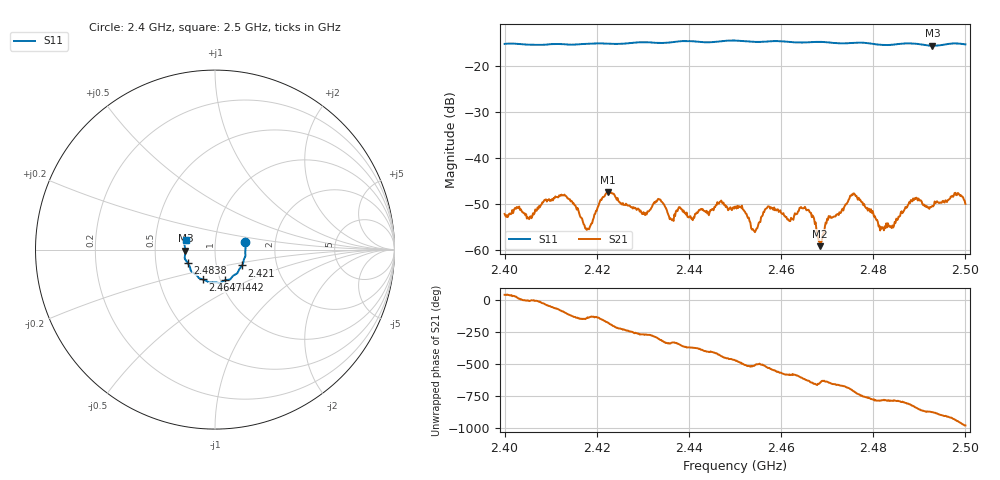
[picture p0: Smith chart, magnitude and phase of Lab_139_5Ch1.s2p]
# Hz S RI R 50
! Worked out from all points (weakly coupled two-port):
!   601 points, 2.4 GHz to 2.5 GHz, reference 50 ohm
!   highest |S21| = -47.47 dB at 2.4225 GHz (marker M1); lowest = -59.2 dB at 2.4685 GHz (marker M2)
!   lowest |S11| = -15.6 dB at 2.4928 GHz (marker M3), VSWR 1.40, Z = 35.8 - j0.39 ohm
!   |S11| at or under -10 dB: start of sweep to end of sweep
!   S12 and S22 are empty: the file has one direction only
!   S11 on the Smith chart (normalised r, x): 2.4 GHz: 1.40, +0.12; 2.421 GHz: 1.33, -0.24; 2.4442 GHz: 1.05, -0.37; 2.4647 GHz: 0.83, -0.29; 2.4838 GHz: 0.73, -0.11; 2.5 GHz: 0.72, +0.08
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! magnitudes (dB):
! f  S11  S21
! 2.4 GHz  -15.2  -52.2
! 2.4125 GHz  -15.3  -48.1
! 2.4167 GHz  -15.3  -53.0
! 2.4183 GHz  -15.2  -55.5
! 2.421 GHz  -15.1  -49.2
! 2.4225 GHz  -15.2  -47.5
! 2.4303 GHz  -14.9  -52.2
! 2.4333 GHz  -15.0  -48.9
! 2.4362 GHz  -14.9  -53.4
! 2.4442 GHz  -14.9  -51.8
! 2.45 GHz  -14.5  -50.6
! 2.4542 GHz  -14.8  -55.9
! 2.457 GHz  -14.7  -50.8
! 2.4647 GHz  -14.9  -51.0
! 2.4667 GHz  -14.8  -52.9
! 2.4685 GHz  -14.8  -59.2
! 2.4755 GHz  -15.0  -48.1
! 2.4833 GHz  -15.5  -54.6
! 2.4838 GHz  -15.4  -55.0
! 2.4887 GHz  -15.2  -48.8
! 2.4928 GHz  -15.6  -50.4
! 2.5 GHz  -15.3  -50.0
